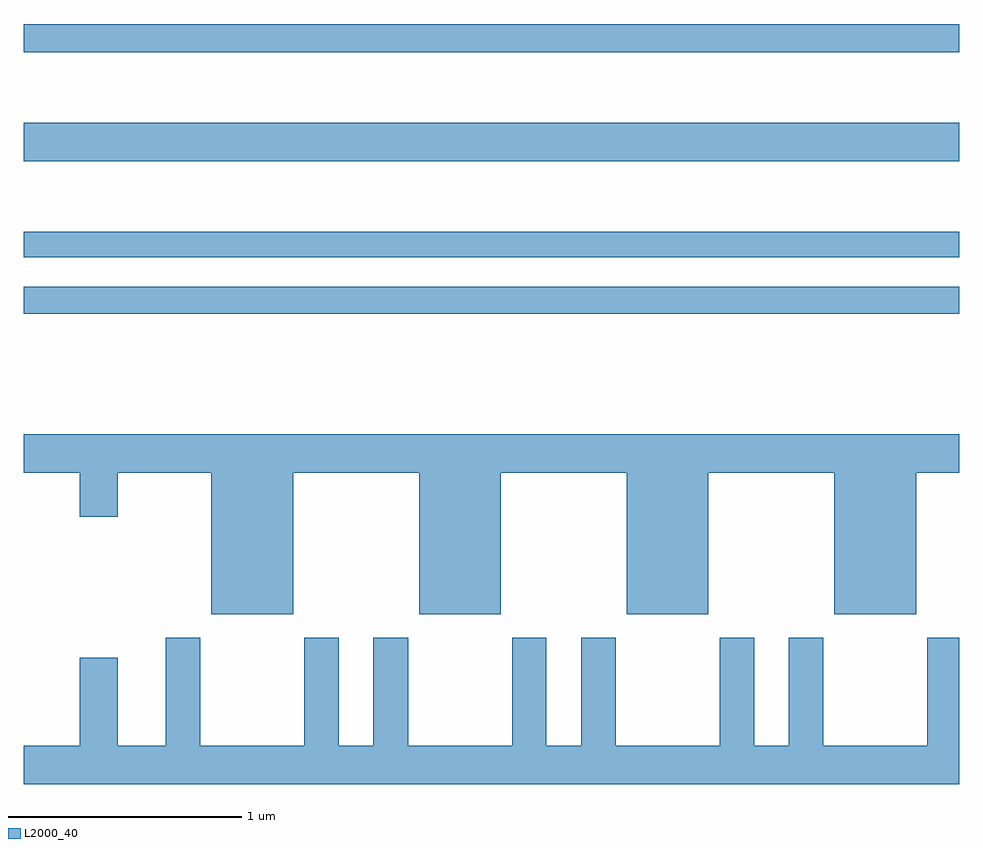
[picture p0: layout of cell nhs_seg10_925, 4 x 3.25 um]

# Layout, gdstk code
import gdstk
lib = gdstk.Library(unit=1e-6, precision=1e-09)
def R(c, l, rs):  # rectangles x0, y0, x1, y1
    for r in rs: c.add(gdstk.rectangle(r[:2], r[2:], *l))
def P(c, l, *ps):  # polygons
    for p in ps: c.add(gdstk.Polygon(p, *l))
L2000_40 = (2000, 40)

nhs_seg10_925 = lib.new_cell('nhs_seg10_925')
R(nhs_seg10_925, L2000_40, [(157,1328.968,161,1329.084), (157,1329.21,161,1329.319), (157,1329.62,161,1329.784), (157,1330.086,161,1330.207)])
P(nhs_seg10_925, L2000_40, [(158.152,1328.288),(158.69,1328.288),(158.69,1327.682),(159.04,1327.682),(159.04,1328.288),(159.578,1328.288),(159.578,1327.682),(159.928,1327.682),(159.928,1328.288),(160.466,1328.288),(160.466,1327.682),(160.816,1327.682),(160.816,1328.288),(161,1328.288),(161,1328.452),(157,1328.452),(157,1328.288),(157.238,1328.288),(157.238,1328.1),(157.402,1328.1),(157.402,1328.288),(157.802,1328.288),(157.802,1327.682),(158.152,1327.682)],
  [(161,1327.582),(160.864,1327.582),(160.864,1327.12),(160.419,1327.12),(160.419,1327.582),(160.271,1327.582),(160.271,1327.12),(160.123,1327.12),(160.123,1327.582),(159.976,1327.582),(159.976,1327.12),(159.531,1327.12),(159.531,1327.582),(159.383,1327.582),(159.383,1327.12),(159.235,1327.12),(159.235,1327.582),(159.088,1327.582),(159.088,1327.12),(158.643,1327.12),(158.643,1327.582),(158.495,1327.582),(158.495,1327.12),(158.347,1327.12),(158.347,1327.582),(158.2,1327.582),(158.2,1327.12),(157.755,1327.12),(157.755,1327.582),(157.607,1327.582),(157.607,1327.12),(157.402,1327.12),(157.402,1327.495),(157.238,1327.495),(157.238,1327.12),(157,1327.12),(157,1326.956),(161,1326.956)])

lib.write_gds('nhs_seg10_925.gds')
